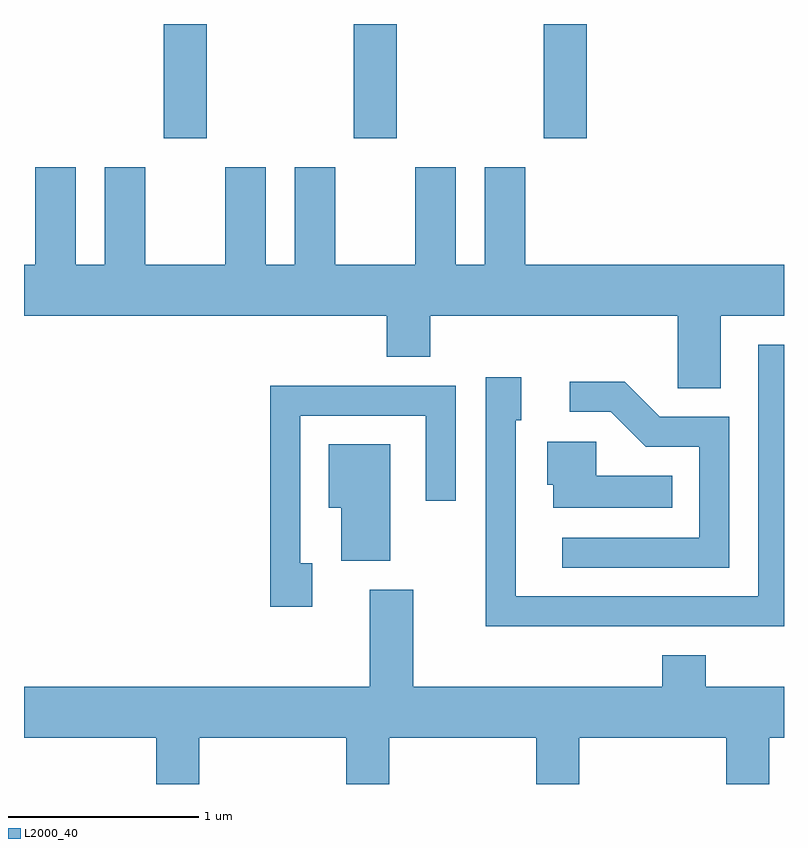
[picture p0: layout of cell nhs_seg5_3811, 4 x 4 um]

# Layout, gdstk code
import gdstk
lib = gdstk.Library(unit=1e-6, precision=1e-09)
def R(c, l, rs):  # rectangles x0, y0, x1, y1
    for r in rs: c.add(gdstk.rectangle(r[:2], r[2:], *l))
def A(c, l, x, y, w, h, nx, ny, dx, dy):  # array of equal rectangles
    R(c, l, [(x+i*dx, y+j*dy, x+i*dx+w, y+j*dy+h) for i in range(nx) for j in range(ny)])
def P(c, l, *ps):  # polygons
    for p in ps: c.add(gdstk.Polygon(p, *l))
L2000_40 = (2000, 40)

nhs_seg5_3811 = lib.new_cell('nhs_seg5_3811')
A(nhs_seg5_3811, L2000_40, 298.346, 1495.471, 0.228, 0.601, 3, 1, 1, 0)
P(nhs_seg5_3811, L2000_40, [(301.279,1494.536),(301.611,1494.536),(301.611,1494.804),(300.249,1494.804),(300.249,1495.319),(300.036,1495.319),(300.036,1494.804),(299.884,1494.804),(299.884,1495.319),(299.671,1495.319),(299.671,1494.804),(299.249,1494.804),(299.249,1495.319),(299.036,1495.319),(299.036,1494.804),(298.884,1494.804),(298.884,1495.319),(298.671,1495.319),(298.671,1494.804),(298.249,1494.804),(298.249,1495.319),(298.036,1495.319),(298.036,1494.804),(297.884,1494.804),(297.884,1495.319),(297.671,1495.319),(297.671,1494.804),(297.611,1494.804),(297.611,1494.536),(299.521,1494.536),(299.521,1494.321),(299.749,1494.321),(299.749,1494.536),(301.051,1494.536),(301.051,1494.156),(301.279,1494.156)],
  [(301.611,1494.384),(301.476,1494.384),(301.476,1493.059),(300.199,1493.059),(300.199,1493.986),(300.229,1493.986),(300.229,1494.214),(300.041,1494.214),(300.041,1492.901),(301.611,1492.901)],
  [(301.324,1494.004),(300.957,1494.004),(300.772,1494.189),(300.483,1494.189),(300.483,1494.031),(300.699,1494.031),(300.884,1493.846),(301.166,1493.846),(301.166,1493.369),(300.443,1493.369),(300.443,1493.211),(301.324,1493.211)],
  [(299.129,1493.234),(299.064,1493.234),(299.064,1494.011),(299.726,1494.011),(299.726,1493.563),(299.884,1493.563),(299.884,1494.169),(298.906,1494.169),(298.906,1493.006),(299.129,1493.006)],
  [(301.023,1493.694),(300.624,1493.694),(300.624,1493.874),(300.366,1493.874),(300.366,1493.646),(300.396,1493.646),(300.396,1493.526),(301.023,1493.526)],
  [(299.539,1493.859),(299.216,1493.859),(299.216,1493.526),(299.281,1493.526),(299.281,1493.246),(299.539,1493.246)],
  [(301.199,1492.749),(300.971,1492.749),(300.971,1492.584),(299.659,1492.584),(299.659,1493.094),(299.431,1493.094),(299.431,1492.584),(297.611,1492.584),(297.611,1492.316),(298.306,1492.316),(298.306,1492.072),(298.534,1492.072),(298.534,1492.316),(299.306,1492.316),(299.306,1492.072),(299.534,1492.072),(299.534,1492.316),(300.306,1492.316),(300.306,1492.072),(300.534,1492.072),(300.534,1492.316),(301.306,1492.316),(301.306,1492.072),(301.534,1492.072),(301.534,1492.316),(301.611,1492.316),(301.611,1492.584),(301.199,1492.584)])

lib.write_gds('nhs_seg5_3811.gds')
